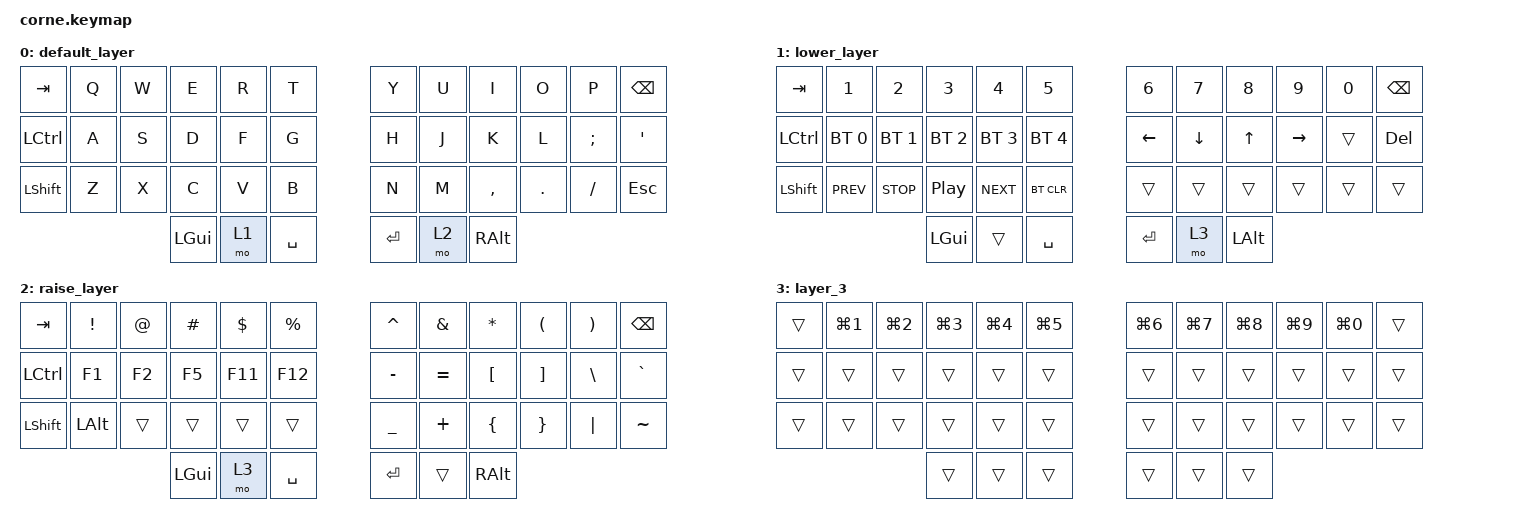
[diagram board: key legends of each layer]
/*
 * Copyright (c) 2020 The ZMK Contributors
 *
 * SPDX-License-Identifier: MIT
 */

#include <behaviors.dtsi>
#include <dt-bindings/zmk/bt.h>
#include <dt-bindings/zmk/keys.h>

/ {
    keymap {
        compatible = "zmk,keymap";

        default_layer {
            // -----------------------------------------------------------------------------------------
            // |  TAB |  Q  |  W  |  E  |  R  |  T  |   |  Y  |  U   |  I  |  O  |  P  | BSPC |
            // | CTRL |  A  |  S  |  D  |  F  |  G  |   |  H  |  J   |  K  |  L  |  ;  |  '   |
            // | SHFT |  Z  |  X  |  C  |  V  |  B  |   |  N  |  M   |  ,  |  .  |  /  | ESC  |
            //                    | GUI | LWR | SPC |   | ENT | RSE  | ALT |

            bindings = <
&kp TAB    &kp Q  &kp W  &kp E     &kp R  &kp T        &kp Y    &kp U  &kp I      &kp O    &kp P     &kp BSPC
&kp LCTRL  &kp A  &kp S  &kp D     &kp F  &kp G        &kp H    &kp J  &kp K      &kp L    &kp SEMI  &kp SQT
&kp LSHFT  &kp Z  &kp X  &kp C     &kp V  &kp B        &kp N    &kp M  &kp COMMA  &kp DOT  &kp FSLH  &kp ESC
                         &kp LGUI  &mo 1  &kp SPACE    &kp RET  &mo 2  &kp RALT
            >;
        };

        lower_layer {
            // -----------------------------------------------------------------------------------------
            // |  TAB |  1  |  2  |  3  |  4  |  5  |   |  6  |  7  |  8  |  9  |  0  | BSPC |
            // | BTCLR| BT1 | BT2 | BT3 | BT4 | BT5 |   | LFT | DWN |  UP | RGT |     |      |
            // | SHFT |     |     |     |     |     |   |     |     |     |     |     |      |
            //                    | GUI |     | SPC |   | ENT |     | ALT |

            bindings = <
&kp TAB    &kp N1        &kp N2        &kp N3            &kp N4        &kp N5          &kp N6    &kp N7    &kp N8        &kp N9     &kp N0  &kp BSPC
&kp LCTRL  &bt BT_SEL 0  &bt BT_SEL 1  &bt BT_SEL 2      &bt BT_SEL 3  &bt BT_SEL 4    &kp LEFT  &kp DOWN  &kp UP        &kp RIGHT  &trans  &kp DEL
&kp LSHFT  &kp C_PREV    &kp C_STOP    &kp C_PLAY_PAUSE  &kp C_NEXT    &bt BT_CLR      &trans    &trans    &trans        &trans     &trans  &trans
                                       &kp LGUI          &trans        &kp SPACE       &kp RET   &mo 3     &kp LEFT_ALT
            >;
        };

        raise_layer {
            // -----------------------------------------------------------------------------------------
            // |  TAB |  !  |  @  |  #  |  $  |  %  |   |  ^  |  &  |  *  |  (  |  )  | BSPC |
            // | CTRL |     |     |     |     |     |   |  -  |  =  |  [  |  ]  |  \  |  `   |
            // | SHFT |     |     |     |     |     |   |  _  |  +  |  {  |  }  | "|" |  ~   |
            //                    | GUI |     | SPC |   | ENT |     | ALT |

            bindings = <
&kp TAB    &kp EXCL      &kp AT  &kp HASH  &kp DLLR  &kp PRCNT    &kp CARET  &kp AMPS   &kp ASTRK  &kp LPAR  &kp RPAR  &kp BSPC
&kp LCTRL  &kp F1        &kp F2  &kp F5    &kp F11   &kp F12      &kp MINUS  &kp EQUAL  &kp LBKT   &kp RBKT  &kp BSLH  &kp GRAVE
&kp LSHFT  &kp LEFT_ALT  &trans  &trans    &trans    &trans       &kp UNDER  &kp PLUS   &kp LBRC   &kp RBRC  &kp PIPE  &kp TILDE
                                 &kp LGUI  &mo 3     &kp SPACE    &kp RET    &trans     &kp RALT
            >;
        };

        layer_3 {
            bindings = <
&trans  &kp LG(NUMBER_1)  &kp LG(NUMBER_2)  &kp LG(NUMBER_3)  &kp LG(NUMBER_4)  &kp LG(NUMBER_5)    &kp LG(NUMBER_6)  &kp LG(NUMBER_7)  &kp LG(NUMBER_8)  &kp LG(N9)  &kp LG(NUMBER_0)  &trans
&trans  &trans            &trans            &trans            &trans            &trans              &trans            &trans            &trans            &trans      &trans            &trans
&trans  &trans            &trans            &trans            &trans            &trans              &trans            &trans            &trans            &trans      &trans            &trans
                                            &trans            &trans            &trans              &trans            &trans            &trans
            >;
        };
    };
};
